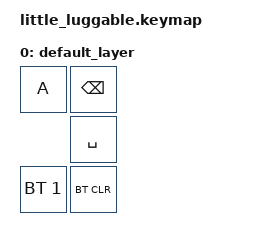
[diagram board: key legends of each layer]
#include <behaviors.dtsi>
#include <dt-bindings/zmk/bt.h>
#include <dt-bindings/zmk/keys.h>

/ {
    keymap {
        compatible = "zmk,keymap";

        default_layer {

            bindings = <
                &kp A                    &kp BACKSPACE
                              &kp SPACE
                &bt BT_SEL 1             &bt BT_CLR
            >;

        };
    };
};
